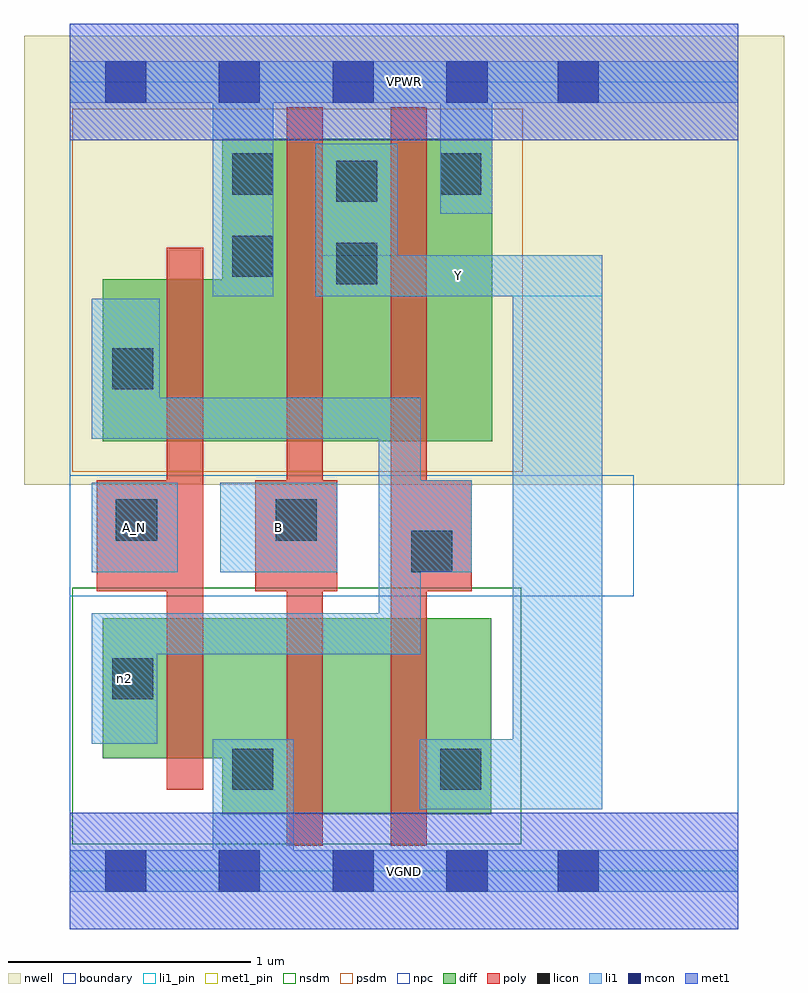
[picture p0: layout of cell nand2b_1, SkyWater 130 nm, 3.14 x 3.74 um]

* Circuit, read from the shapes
.subckt nand2b_1 A_N B VGND VPWR Y n2
XM1 VGND A_N n2 VSUBS sky130_fd_pr__nfet_01v8 w=0.58 l=0.15
XM2 n1 B VGND VSUBS sky130_fd_pr__nfet_01v8 w=0.81 l=0.15
XM3 Y n2 n1 VSUBS sky130_fd_pr__nfet_01v8 w=0.81 l=0.15
XM4 VPWR A_N n2 n3 sky130_fd_pr__pfet_01v8 w=0.67 l=0.15
XM5 Y B VPWR n3 sky130_fd_pr__pfet_01v8 w=1.25 l=0.15
XM6 VPWR n2 Y n3 sky130_fd_pr__pfet_01v8 w=1.25 l=0.15
.ends

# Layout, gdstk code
import gdstk
lib = gdstk.Library(unit=1e-6, precision=1e-09)
def R(c, l, rs):  # rectangles x0, y0, x1, y1
    for r in rs: c.add(gdstk.rectangle(r[:2], r[2:], *l))
def A(c, l, x, y, w, h, nx, ny, dx, dy):  # array of equal rectangles
    R(c, l, [(x+i*dx, y+j*dy, x+i*dx+w, y+j*dy+h) for i in range(nx) for j in range(ny)])
nwell = (64, 20)
diff = (65, 20)
poly = (66, 20)
licon = (66, 44)
li1_pin = (67, 16)
li1 = (67, 20)
mcon = (67, 44)
met1_pin = (68, 16)
met1 = (68, 20)
nsdm = (93, 44)
psdm = (94, 20)
npc = (95, 20)
boundary = (235, 4)

nand2b_1 = lib.new_cell('nand2b_1')
R(nand2b_1, nwell, [(-0.19,1.595,2.95,3.45), (0,1.595,2.76,3.45)])
R(nand2b_1, diff, [(0.63,0.235,1.74,1.045), (0.135,0.465,1.74,1.045), (0.135,1.775,1.745,2.445), (0.63,1.775,1.745,3.025)])
R(nand2b_1, poly, [(0.895,0.105,1.045,3.155), (1.325,0.105,1.475,3.155), (0.4,0.335,0.55,2.575), (0.11,1.155,0.55,1.615), (0.765,1.155,1.105,1.615), (1.325,1.155,1.66,1.615)])
R(nand2b_1, licon, [(0.67,0.335,0.84,0.505), (1.53,0.335,1.7,0.505), (0.175,0.71,0.345,0.88), (1.41,1.235,1.58,1.405), (0.19,1.365,0.36,1.535), (0.85,1.365,1.02,1.535), (0.175,1.99,0.345,2.16), (1.1,2.425,1.27,2.595), (0.67,2.455,0.84,2.625), (1.1,2.765,1.27,2.935), (0.67,2.795,0.84,2.965), (1.53,2.795,1.7,2.965)])
R(nand2b_1, li1_pin, [(0.09,1.235,0.445,1.605), (0.62,1.235,1.105,1.605), (1.015,2.375,2.2,2.545)])
R(nand2b_1, li1, [(0,-0.085,2.76,0.085), (0.59,-0.085,0.925,0.545), (1.445,0.255,2.2,0.545), (1.83,0.255,2.2,2.545), (0.09,0.525,0.36,1.065), (0.09,0.895,1.45,1.065), (1.275,0.895,1.45,1.955), (0.09,1.235,0.445,1.605), (0.62,1.235,1.105,1.605), (1.275,1.235,1.66,1.615), (0.09,1.785,1.45,1.955), (0.09,1.785,0.37,2.365), (0.59,2.375,0.84,3.345), (1.015,2.375,1.355,3.005), (1.015,2.375,2.2,2.545), (1.53,2.715,1.745,3.345), (0,3.175,2.76,3.345)])
A(nand2b_1, mcon, 0.145, -0.085, 0.17, 0.17, 4, 2, 0.47, 3.26)
R(nand2b_1, mcon, [(2.015,-0.085,2.185,0.085), (2.015,3.175,2.185,3.345)])
R(nand2b_1, met1_pin, [(0,-0.24,2.76,0.24), (0,3.02,2.76,3.5)])
R(nand2b_1, met1, [(0,-0.24,2.76,0.24), (0,3.02,2.76,3.5)])
R(nand2b_1, nsdm, [(0.01,0.11,1.865,1.17)])
R(nand2b_1, psdm, [(0.01,1.65,1.87,3.15)])
R(nand2b_1, npc, [(0,1.135,2.33,1.635)])
R(nand2b_1, boundary, [(0,0,2.76,3.26)])
nand2b_1.add(gdstk.Label('A_N', (0.267,1.42), layer=67, texttype=5))
nand2b_1.add(gdstk.Label('B', (0.862,1.42), layer=67, texttype=5))
nand2b_1.add(gdstk.Label('Y', (1.607,2.46), layer=67, texttype=5))
nand2b_1.add(gdstk.Label('n2', (0.225,0.795), layer=67, texttype=5))
nand2b_1.add(gdstk.Label('VPWR', (1.38,3.26), layer=68, texttype=5))
nand2b_1.add(gdstk.Label('VGND', (1.38,0), layer=68, texttype=5))
nand2b_1.add(gdstk.Label('A_N', (0.267,1.42), layer=67, texttype=16))
nand2b_1.add(gdstk.Label('B', (0.862,1.42), layer=67, texttype=16))
nand2b_1.add(gdstk.Label('Y', (1.607,2.46), layer=67, texttype=16))
nand2b_1.add(gdstk.Label('VPWR', (1.38,3.26), layer=68, texttype=16))
nand2b_1.add(gdstk.Label('VGND', (1.38,0), layer=68, texttype=16))

lib.write_gds('nand2b_1.gds')
